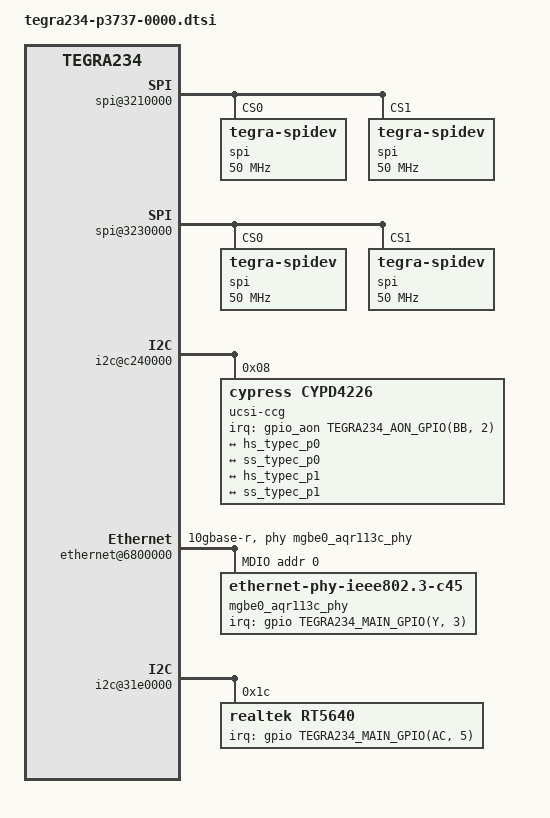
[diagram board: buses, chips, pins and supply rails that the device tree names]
// SPDX-License-Identifier: GPL-2.0-only
// Copyright (c) 2022-2023, NVIDIA CORPORATION & AFFILIATES.  All rights reserved.

/ {
	fragment-t234-p3737-0000@0 {
		target-path = "/";
		__overlay__ {
			bus@0 {
				spi@3210000{ /* SPI1 in 40 pin conn */
					spi@0 { /* chip select 0 */
						compatible = "tegra-spidev";
						reg = <0x0>;
						spi-max-frequency = <50000000>;
					};
					spi@1 { /* chips select 1 */
						compatible = "tegra-spidev";
						reg = <0x1>;
						spi-max-frequency = <50000000>;
					};
				};

				spi@3230000{ /* SPI3 in 40 pin conn */
					spi@0 { /* chip select 0 */
						compatible = "tegra-spidev";
						reg = <0x0>;
						spi-max-frequency = <50000000>;
					};
					spi@1 { /* chips select 1 */
						compatible = "tegra-spidev";
						reg = <0x1>;
						spi-max-frequency = <50000000>;
					};
				};

				padctl@3520000 {
					ports {
						usb2-0 {
							mode = "otg";
							usb-role-switch;
							port {
								hs_typec_p1: endpoint {
									remote-endpoint = <&hs_ucsi_ccg_p1>;
								};
							};
						};

						usb2-1 {
							port {
								hs_typec_p0: endpoint {
									remote-endpoint = <&hs_ucsi_ccg_p0>;
								};
							};
						};

						usb3-0 {
							port {
								ss_typec_p0: endpoint {
									remote-endpoint = <&ss_ucsi_ccg_p0>;
								};
							};
						};

						usb3-1 {
							port {
								ss_typec_p1: endpoint {
									remote-endpoint = <&ss_ucsi_ccg_p1>;
								};
							};
						};
					};
				};

				usb@3550000 {
					phys = <&xpads_usb2_lanes_usb2_0>,
						<&xpads_usb3_lanes_usb3_1>;
					phy-names = "usb2-0", "usb3-1";
				};

				i2c@c240000 {
					ucsi-ccg@8 {
						compatible = "cypress,cypd4226";
						cypress,firmware-build = "nvidia,jetson-agx-xavier";
						interrupt-parent = <&gpio>;
						interrupts = <TEGRA234_MAIN_GPIO(Y, 4) IRQ_TYPE_LEVEL_LOW>;
						reg = <0x08>;
						#address-cells = <1>;
						#size-cells = <0>;
						ccg_typec_con0: connector@0 {
							compatible = "usb-c-connector";
							reg = <0>;
							label = "USB-C";
							data-role = "host";
							#address-cells = <1>;
							#size-cells = <0>;
							port@0 {
								reg = <0>;
								hs_ucsi_ccg_p0: endpoint {
									remote-endpoint = <&hs_typec_p0>;
								};
							};
							port@1 {
								reg = <1>;
								ss_ucsi_ccg_p0: endpoint {
									remote-endpoint = <&ss_typec_p0>;
								};
							};
						};
						ccg_typec_con1: connector@1 {
							compatible = "usb-c-connector";
							reg = <1>;
							label = "USB-C";
							data-role = "dual";
							#address-cells = <1>;
							#size-cells = <0>;
							port@0 {
								reg = <0>;
								hs_ucsi_ccg_p1: endpoint {
									remote-endpoint = <&hs_typec_p1>;
								};
							};
							port@1 {
								reg = <1>;
								ss_ucsi_ccg_p1: endpoint {
									remote-endpoint = <&ss_typec_p1>;
								};
							};
						};
					};
				};

				aconnect@2900000 {
					ahub@2900800 {
						i2s@2901100 {
							ports {
								port@1 {
									hdr40_snd_i2s_dap_ep: endpoint {
									};
								};
							};
						};
					};
				};

				ethernet@6800000 {
					nvidia,mac-addr-idx = <0>;
					nvidia,max-platform-mtu = <16383>;
					/* 1=enable, 0=disable */
					nvidia,pause_frames = <1>;
					phy-handle = <&mgbe0_aqr113c_phy>;
					phy-mode = "10gbase-r";
					/* 0:XFI 10G, 1:XFI 5G, 2:USXGMII 10G, 3:USXGMII 5G */
					nvidia,phy-iface-mode = <0>;
					nvidia,phy-reset-gpio = <&gpio TEGRA234_MAIN_GPIO(Y, 1) 0>;
					nvidia,mdio_addr = <0>;

					mdio {
						compatible = "nvidia,eqos-mdio";
						#address-cells = <1>;
						#size-cells = <0>;

						mgbe0_aqr113c_phy: ethernet_phy@0 {
							compatible = "ethernet-phy-ieee802.3-c45";
							reg = <0x0>;
							nvidia,phy-rst-pdelay-msec = <150>; /* msec */
							nvidia,phy-rst-duration-usec = <221000>; /* usec */
							interrupt-parent = <&gpio>;
							interrupts = <TEGRA234_MAIN_GPIO(Y, 3) IRQ_TYPE_LEVEL_LOW>;
						};
					};
				};
			};

			tegra_sound_graph: tegra_sound: sound {
				compatible = "nvidia,tegra186-ape";
				clocks = <&bpmp TEGRA234_CLK_PLLA>,
					 <&bpmp TEGRA234_CLK_PLLA_OUT0>,
					 <&bpmp TEGRA234_CLK_AUD_MCLK>;
				clock-names = "pll_a", "pll_a_out0", "extern1";
				assigned-clocks = <&bpmp TEGRA234_CLK_AUD_MCLK>;
				assigned-clock-parents = <&bpmp TEGRA234_CLK_PLLA_OUT0>;

				nvidia-audio-card,name = "NVIDIA Jetson AGX Orin APE";

				nvidia-audio-card,mclk-fs = <256>;

				hdr40_snd_link_i2s: nvidia-audio-card,dai-link@77 { };
			};

			eeprom-manager {
				data-size = <0x100>;
				bus@0 {
					i2c-bus = <&gen1_i2c>;
					eeprom@1 {
						slave-address = <0x56>;
						label = "cvb";
					};
				};
			};
		};
	};

	fragment-t234-p3737-0000@1 {
		target-path = "/";
		board_config {
			ids = ">=3737-0000-TS4", ">=3737-0000-RC1", ">=3737-0000-300";
		};
		__overlay__ {
			bus@0 {
				i2c@31e0000 {
					rt5640: rt5640.8-001c@1c {
						compatible = "realtek,rt5640";
						reg = <0x1c>;

						clocks = <&bpmp TEGRA234_CLK_AUD_MCLK>;
						clock-names = "mclk";

						realtek,dmic1-data-pin = <0>; /* RT5659_DMIC1_NULL */
						realtek,dmic2-data-pin = <0>; /* RT5659_DMIC2_NULL */
						realtek,jack-detect-source = <7>;

						/* Codec IRQ output */
						interrupt-parent = <&gpio>;
						interrupts = <TEGRA234_MAIN_GPIO(AC, 5) GPIO_ACTIVE_HIGH>;

						#sound-dai-cells = <1>;
						sound-name-prefix = "CVB-RT";

						status = "okay";
					};
				};
			};

			sound {
				nvidia-audio-card,widgets =
					"Headphone",	"CVB-RT Headphone Jack",
					"Microphone",	"CVB-RT Mic Jack",
					"Speaker",	"CVB-RT Int Spk",
					"Microphone",	"CVB-RT Int Mic";

				nvidia-audio-card,routing =
					"CVB-RT Headphone Jack",     "CVB-RT HPOL",
					"CVB-RT Headphone Jack",     "CVB-RT HPOR",
					"CVB-RT IN1P",		     "CVB-RT Mic Jack",
					"CVB-RT IN2P",		     "CVB-RT Mic Jack",
					"CVB-RT Int Spk",	     "CVB-RT SPOLP",
					"CVB-RT Int Spk",	     "CVB-RT SPORP",
					"CVB-RT DMIC1",		     "CVB-RT Int Mic",
					"CVB-RT DMIC2",		     "CVB-RT Int Mic";

				nvidia-audio-card,dai-link@76 {
					link-name = "rt5640-playback";
					codec {
						sound-dai = <&rt5640 0>;
						prefix = "CVB-RT";
					};
				};
			};
		};
	};

	fragment-t234-p3737-0000@3 {
		target-path = "/";
		board_config {
			ids = "3737-0000-TS1","3737-0000-TS2","3737-0000-TS3","3737-0000-EB1","3737-0000-EB2","3737-0000-EB3","3737-0000-000","3737-0000-100","3737-0000-200";
		};
		__overlay__ {
			bus@0{
				i2c@c240000 {
					ucsi-ccg@8 {
						interrupt-parent = <&gpio_aon>;
						interrupts = <TEGRA234_AON_GPIO(BB, 2) IRQ_TYPE_LEVEL_LOW>;
					};
				};
			};
		};
	};
};
